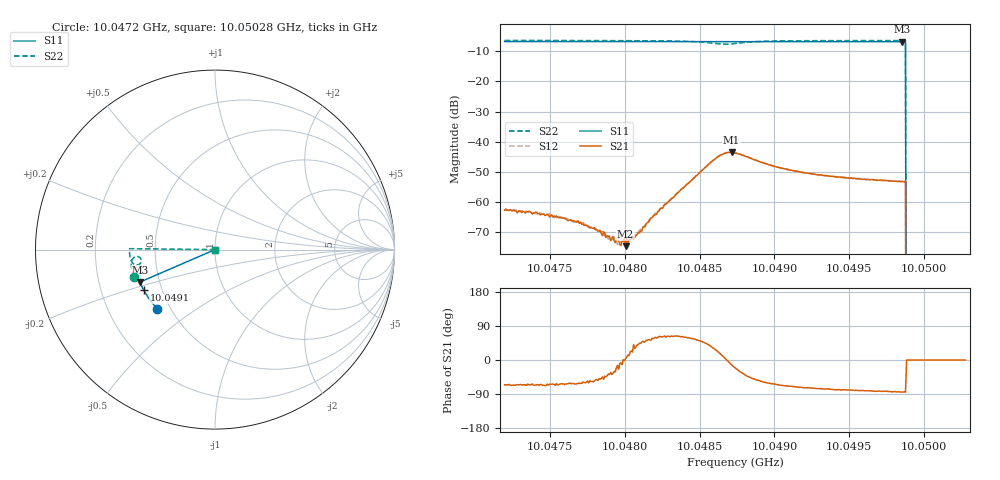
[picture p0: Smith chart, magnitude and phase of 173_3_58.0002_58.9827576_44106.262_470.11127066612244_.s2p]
#  HZ  S  RI  R  50.00
! Rohde & Schwarz Vector Network Analyzer
! Rohde-Schwarz,ZNB20-2Port,1311601062101988,3.16
! Created: UTC 3/21/2024, 12:58:01 AM
! freq[Hz]  re:S11  im:S11  re:S21  im:S21  re:S12  im:S12  re:S22  im:S22
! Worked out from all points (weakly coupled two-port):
!   401 points, 10.0472 GHz to 10.05028 GHz, reference 50 ohm
!   highest |S21| = -43.53 dB at 10.04871 GHz (marker M1); lowest = -74.7 dB at 10.04801 GHz (marker M2)
!   lowest |S11| = -6.8 dB at 10.04985 GHz (marker M3), VSWR 2.67, Z = 19.4 - j8.92 ohm
!   |S11| at or under -10 dB: 10.04988 GHz to end of sweep
!   |S22| runs from - to -6.4 dB; largest |S21 - S12| = 0.00046
!   S11 on the Smith chart (normalised r, x): 10.0472 GHz: 0.42, -0.35; 10.0491 GHz: 0.40, -0.23; 10.05028 GHz: 1.00, +0.00
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1.0047197e10  -0.3226 -0.3284  0.000303 -0.000668  0.000355 -0.00064  -0.4539 -0.1536
1.0047359e10  -0.3299 -0.3206  0.000298 -0.000635  0.000327 -0.000605  -0.457 -0.1428
1.0047497e10  -0.3362 -0.3136  0.000248 -0.000508  0.00031 -0.000547  -0.4596 -0.1333
1.0047528e10  -0.3374 -0.312  0.000251 -0.000531  0.000263 -0.000483  -0.46 -0.1313
1.0047713e10  -0.3454 -0.3029  0.000203 -0.000374  0.000239 -0.000381  -0.4629 -0.118
1.0047867e10  -0.3517 -0.2947  0.000225 -0.000207  0.000198 -0.000189  -0.4648 -0.1063
1.0047951e10  -0.3551 -0.2904  0.000226 -5.66e-05  0.000191 -4.93e-05  -0.4657 -0.0998
1.0048005e10  -0.3573 -0.2875  0.000185 1.12e-05  0.000215 7.52e-06  -0.466 -0.0953
1.0048044e10  -0.3587 -0.2855  0.00023 0.000101  0.00024 9.88e-05  -0.4665 -0.0921
1.0048075e10  -0.36 -0.2839  0.000228 0.000157  0.000236 0.000162  -0.4665 -0.0895
1.0048229e10  -0.366 -0.2756  0.00033 0.000621  0.00032 0.000648  -0.4664 -0.0753
1.004859e10  -0.379 -0.2554  0.00417 0.00256  0.00403 0.00284  -0.4295 -0.0385
1.0048652e10  -0.3809 -0.2521  0.00608 0.00122  0.00605 0.00156  -0.4134 -0.0508
1.0048714e10  -0.383 -0.249  0.0065 -0.00146  0.00664 -0.00106  -0.4136 -0.0731
1.0048737e10  -0.3838 -0.2477  0.00609 -0.00233  0.00628 -0.00195  -0.4188 -0.0794
1.0049099e10  -0.3962 -0.2272  0.00121 -0.00317  0.00143 -0.00316  -0.4692 -0.0571
1.0049253e10  -0.4011 -0.2182  0.000795 -0.00281  0.000975 -0.00279  -0.4731 -0.0427
1.0049768e10  -0.4153 -0.1874  0.000275 -0.00223  0.000402 -0.0022  -0.4768 -0.00259
1.0049853e10  -0.4174 -0.1823  0.000219 -0.00219  0.000333 -0.0022  -0.4767 0.00348
1.0049861e10  -0.4176 -0.1818  0.000199 -0.00217  0.000334 -0.00214  -0.4767 0.00404
1.0049899e10  0 0  0 0  0 0  0 0
1.0050276e10  0 0  0 0  0 0  0 0
